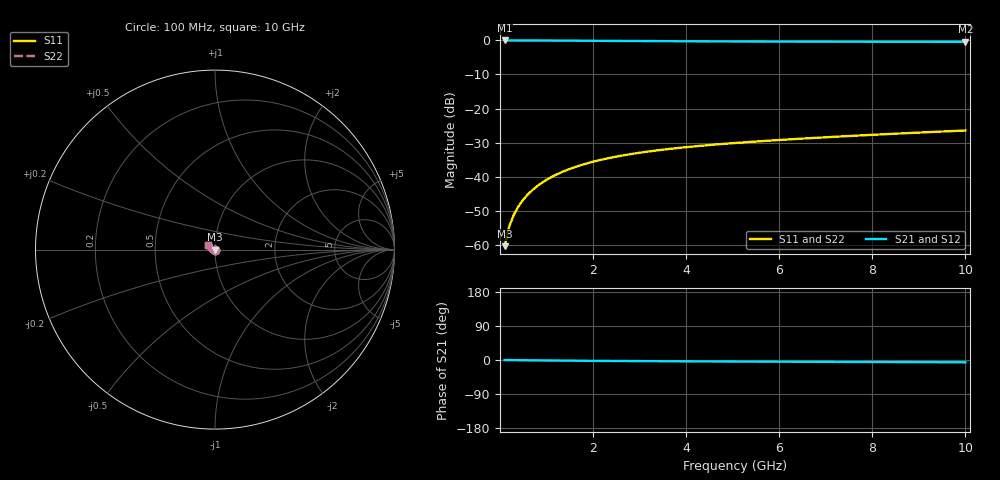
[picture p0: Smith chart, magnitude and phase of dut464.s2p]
! Touchstone file exported from HFSS 2024.1.0
!  File:  C:/UserFiles/LocalFiles/RDL_TSV_Batchsim/temp_TSV1_464_1779697830.aedt
!  Generated:  04:37:23 PM May 25, 2026
!  Design:  TSV1
!  Project:  temp_TSV1_464_1779697830
!  Setup:  Setup1
!  Solution:  Sweep
! Variables:
!  dtsv = 7.71um
!  hbump = 3um
!  htsv = 90.98um
!  lrdl = 252.1521522um
!  p = 40
!  p1 = 59.07um
!  t = 500um
!  trdl = 3um
!  wrdl = 24.89489489um
# GHz S MA R 50.000000
! Terminal data exported
! Port[1] = TSV22_T1
! Port[2] = TSV22_T2
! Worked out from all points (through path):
!   100 points, 100 MHz to 10 GHz, reference 50 ohm
!   highest |S21| = 0.00 dB at 100 MHz (marker M1); lowest = -0.4 dB at 10 GHz (marker M2)
!   lowest |S11| = -60.4 dB at 100 MHz (marker M3), VSWR 1.00, Z = 50 - j0.0924 ohm
!   |S11| at or under -10 dB: start of sweep to end of sweep
!   |S22| runs from -60.4 to -26.5 dB; largest |S21 - S12| = 6.3e-15
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0.1  0.0009503 -76.3  0.9997 -0.1  0.9997 -0.1  0.0009503 -76.3
! Gamma 0 0 0 0
! Port Impedance 50 0 50 0
0.2  0.001857 -86.3  0.9996 -0.3  0.9996 -0.3  0.001857 -86.3
0.3  0.002771 -91.3  0.9994 -0.4  0.9994 -0.4  0.002771 -91.3
0.4  0.003681 -95.0  0.9991 -0.5  0.9991 -0.5  0.003681 -95.0
0.5  0.004585 -98.1  0.9988 -0.6  0.9988 -0.6  0.004585 -98.1
0.6  0.005481 -100.9  0.9984 -0.8  0.9984 -0.8  0.005481 -100.9
0.7  0.006367 -103.5  0.9979 -0.9  0.9979 -0.9  0.006367 -103.5
0.8  0.007241 -106.0  0.9974 -1.0  0.9974 -1.0  0.007241 -106.0
0.9  0.008102 -108.4  0.9968 -1.1  0.9968 -1.1  0.008102 -108.4
1.1  0.009783 -113.1  0.9955 -1.4  0.9955 -1.4  0.009783 -113.1
1.4  0.01218 -119.7  0.9933 -1.7  0.9933 -1.7  0.01218 -119.7
1.6  0.0137 -123.9  0.9917 -1.9  0.9917 -1.9  0.0137 -123.9
1.8  0.01514 -128.0  0.99 -2.1  0.99 -2.1  0.01514 -128.0
2.1  0.01718 -133.7  0.9874 -2.3  0.9874 -2.3  0.01718 -133.7
2.5  0.01965 -140.9  0.984 -2.6  0.984 -2.6  0.01965 -140.9
2.9  0.02188 -147.6  0.9807 -2.9  0.9807 -2.9  0.02188 -147.6
3.4  0.02438 -155.2  0.9769 -3.2  0.9769 -3.2  0.02438 -155.2
4.2  0.02788 -166.0  0.9717 -3.6  0.9717 -3.6  0.02788 -166.0
5.1  0.03133 -176.3  0.9671 -4.0  0.9671 -4.0  0.03133 -176.3
6.7  0.03682 168.8  0.9612 -4.7  0.9612 -4.7  0.03682 168.8
8.4  0.04236 156.6  0.9572 -5.4  0.9572 -5.4  0.04236 156.6
10  0.04756 147.4  0.9545 -6.1  0.9545 -6.1  0.04756 147.4
